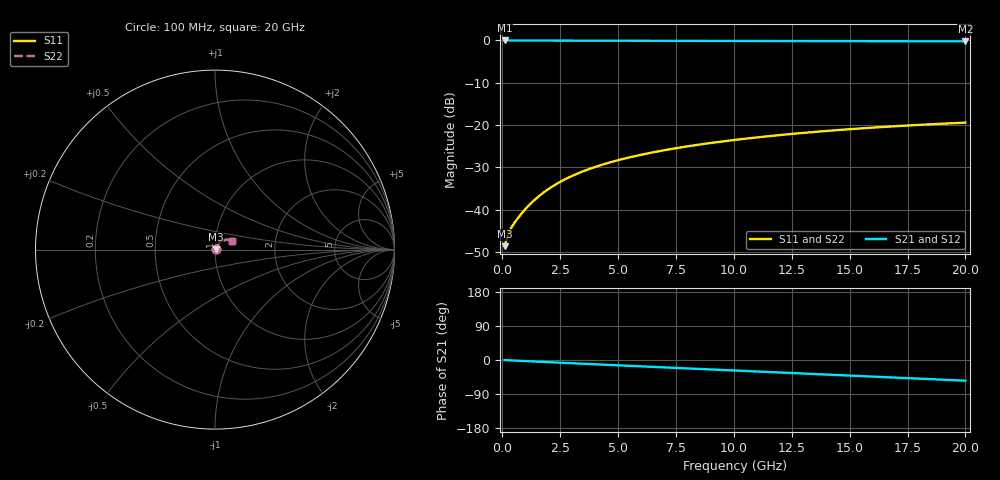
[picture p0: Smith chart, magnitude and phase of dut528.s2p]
! Touchstone file exported from HFSS 2026.1.0
!  File:  C:/ffzhzh/LocalFiles/Ansys_Project_Files/temp_train_BSMRDL_528_1783014699_53980.aedt
!  Generated:  01:53:14 AM Jul  3, 2026
!  Design:  BSMRDL
!  Project:  temp_train_BSMRDL_528_1783014699_53980
! Variables:
!  h_bsmrdl = 4.66um
!  h_ox = 20um
!  h_rdl = 5um
!  h_sub = 80um
!  h_tmrdl = 5um
!  h_tsv = 80um
!  h_via = 3um
!  l_bsmrdl = 973.46um
!  l_sub = 1373.46um
!  l_tmrdl = 200um
!  m_sub = 200um
!  pitch = 31.37um
!  r_tsv = 6um
!  s_tmrdl = 10um
!  w_bsmrdl = 24.19um
!  w_sub = 500um
!  w_tmrdl = 12um
!  x_tsv_center1 = 206um
!  x_tsv_center2 = 1203.65um
!  x_tsv_center3 = 1415.65um
!  x_tsv_center4 = 2413.3um
!  x_tsv_center5 = 2625.3um
!  x_tsv_center6 = 3622.95um
# GHz S MA R 50.000000
! Terminal data exported
! Port[1] = BSM_RDL1_1_T1
! Port[2] = BSM_RDL1_1_T2
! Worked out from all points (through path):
!   200 points, 100 MHz to 20 GHz, reference 50 ohm
!   highest |S21| = -0.03 dB at 100 MHz (marker M1); lowest = -0.2 dB at 20 GHz (marker M2)
!   group delay of S21, straight-line fit = 7.55 ps
!   lowest |S11| = -48.6 dB at 100 MHz (marker M3), VSWR 1.01, Z = 50.3 + j0.147 ohm
!   |S11| at or under -10 dB: start of sweep to end of sweep
!   |S22| runs from -48.6 to -19.4 dB; largest |S21 - S12| = 9.5e-15
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0.1  0.003705 23.2  0.9966 -0.3  0.9966 -0.3  0.003705 23.2
! Gamma 0 0 0 0
! Port Impedance 50 0 50 0
0.2  0.004658 33.1  0.9961 -0.6  0.9961 -0.6  0.004658 33.1
0.3  0.005478 37.9  0.9957 -0.9  0.9957 -0.9  0.005478 37.9
0.4  0.006175 41.5  0.9955 -1.2  0.9955 -1.2  0.006175 41.5
0.6  0.007466 47.6  0.9951 -1.8  0.9951 -1.8  0.007466 47.6
0.8  0.008787 52.4  0.9949 -2.3  0.9949 -2.3  0.008787 52.4
1  0.01017 56.0  0.9947 -2.9  0.9947 -2.9  0.01017 56.0
1.3  0.01234 59.7  0.9944 -3.7  0.9944 -3.7  0.01234 59.7
1.8  0.01607 62.8  0.9939 -5.1  0.9939 -5.1  0.01607 62.8
2.3  0.01981 64.0  0.9932 -6.6  0.9932 -6.6  0.01981 63.9
2.9  0.02421 64.0  0.9923 -8.2  0.9923 -8.2  0.02421 64.0
3.5  0.02846 63.3  0.9914 -9.9  0.9914 -9.9  0.02846 63.3
4.2  0.03322 62.1  0.9902 -11.9  0.9902 -11.9  0.03322 62.1
5  0.0384 60.4  0.989 -14.1  0.989 -14.1  0.0384 60.4
5.9  0.04394 58.5  0.9876 -16.5  0.9876 -16.5  0.04395 58.4
6.8  0.04923 56.5  0.9863 -19.0  0.9863 -19.0  0.04923 56.4
8.3  0.05757 53.1  0.9843 -23.1  0.9843 -23.1  0.05758 53.0
10.1  0.06694 49.0  0.9822 -27.9  0.9822 -27.9  0.06695 48.9
11.7  0.07473 45.3  0.9804 -32.3  0.9804 -32.3  0.07474 45.2
13.4  0.08246 41.3  0.9787 -36.8  0.9787 -36.8  0.08248 41.2
16.7  0.09576 33.4  0.9756 -45.7  0.9756 -45.7  0.09578 33.3
20  0.1066 25.3  0.9728 -54.6  0.9728 -54.6  0.1067 25.2
